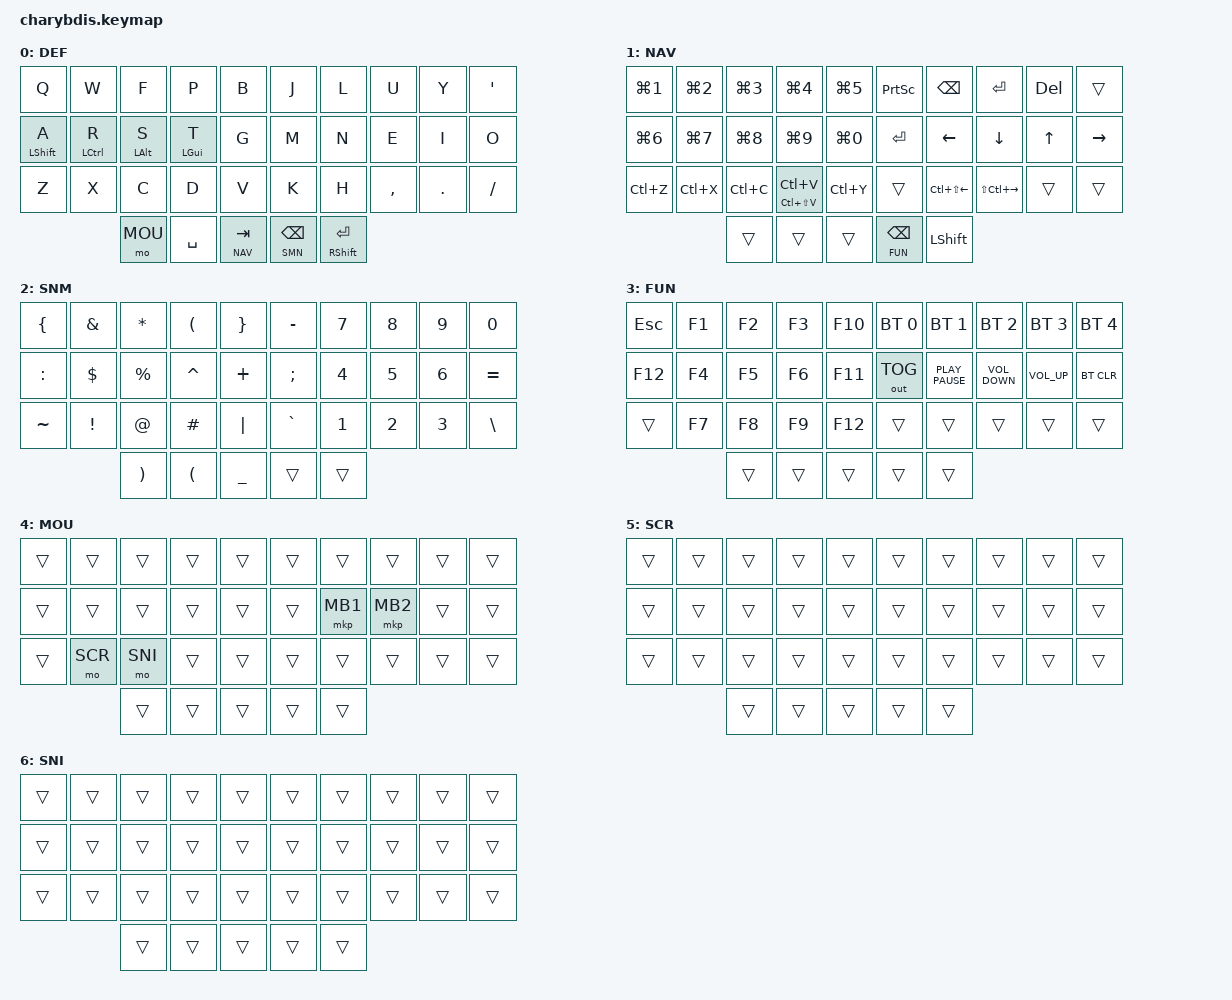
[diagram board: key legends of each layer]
/*
 * eXsoR's Charybdis Nano Keymap
 * with trackball.
 *
*/

// Includes
#include <behaviors.dtsi>
#include <dt-bindings/zmk/bt.h>
#include <dt-bindings/zmk/keys.h>
#include <dt-bindings/zmk/pointing.h>
#include <dt-bindings/zmk/outputs.h>

// Layer Defenitions
#define DEF 0
#define NAV 1
#define SMN 2
#define FUN 3
#define MOU 4
#define SCR 5
#define SNI 6

// Layer-Tap and Mod-Tap Config Preferences
&lt {
    tapping-term-ms = <240>;
    flavor = "tap-preferred";
    quick-tap-ms = <150>;
    require-prior-idle-ms = <10>;
};

&mt {
    tapping-term-ms = <250>;
    flavor = "tap-preferred";
    require-prior-idle-ms = <250>;
};

// Selecting 5 Coloumn Transform
/ {
    chosen { zmk,matrix_transform = &five_column_transform; };
};

/* 
 * Combos, Behaviors, and Keymap
 *╭──────┬──────┬──────┬──────┬──────╮  ╭──────┬──────┬──────┬──────┬──────╮
 *   00     01     02     03     04        05     06     07     08     09 
 *├──────┼──────┼──────┼──────┼──────┤  ├──────┼──────┼──────┼──────┼──────┤
 *   10     11     12     13     14        15     16     17     18     19
 *├──────┼──────┼──────┼──────┼──────┤  ├──────┼──────┼──────┼──────┼──────┤
 *   20     21     22     23     24        25     26     27     28     29 
 *╰──────┴──────┴──────┼──────┼──────┤  ├──────┼──────┼──────┴──────┴──────╯
 *                 30     31     32        33     34
 *              ╰──────┴──────┴──────╯  ╰──────┴──────╯
*/

/ {
    behaviors {
        Shift_Enter: Shift_Enter {
            compatible = "zmk,behavior-hold-tap";
            display-name = "SHIFT_ENTER";
            bindings = <&kp>, <&kp>;
            #binding-cells = <2>;
            hold-trigger-key-positions = <34>;
            tapping-term-ms = <150>;
        };
    };
    
    combos {
        compatible = "zmk,combos";

        fn_mo {
	    timeout-ms = <50>;
            key-positions = <32 33>;
            bindings = <&mo FUN>;
        };

        LeftClickRight {
            bindings = <&mkp LCLK>;
            key-positions = <16 17>;
        };

        RightClickRight {
            bindings = <&mkp RCLK>;
            key-positions = <17 18>;
        };

        ParaLeft {
            bindings = <&kp LEFT_PARENTHESIS>;
            key-positions = <3 13>;
        };

        ParaRight {
            bindings = <&kp RIGHT_PARENTHESIS>;
            key-positions = <6 16>;
        };

        BrakLeft {
            bindings = <&kp LEFT_BRACKET>;
            key-positions = <2 12>;
        };

        BrakRight {
            bindings = <&kp RIGHT_BRACKET>;
            key-positions = <7 17>;
        };

        BraceLeft {
            bindings = <&kp LEFT_BRACE>;
            key-positions = <1 11>;
        };

        BraceRight {
            bindings = <&kp RIGHT_BRACE>;
            key-positions = <8 18>;
        };

        Delete {
            bindings = <&kp DELETE>;
            key-positions = <7 8>;
        };

        CapsWord {
            bindings = <&caps_word>;
            key-positions = <14 15>;
        };
    };

    keymap {
        compatible = "zmk,keymap";

        default_layer {
            display-name = "DEF";
            bindings = <
            &kp Q              &kp W                &kp F             &kp P             &kp B               &kp J                &kp L             &kp U           &kp Y       &kp APOS
            &mt LEFT_SHIFT A   &mt LEFT_CONTROL R   &mt LEFT_ALT S    &mt LEFT_GUI T    &kp G               &kp M                &kp N             &kp E           &kp I       &kp O
            &kp Z              &kp X                &kp C             &kp D             &kp V               &kp K                &kp H             &kp COMMA       &kp DOT     &kp SLASH
                                                    &mo MOU           &kp SPACE         &lt NAV TAB         &lt SMN BACKSPACE    &Shift_Enter RIGHT_SHIFT ENTER
            >;
        };

        nav_layer {
            display-name = "NAV";
            bindings = <
            &kp LG(N1)  &kp LG(N2)  &kp LG(N3)  &kp LG(N4)           &kp LG(N5)   &kp PRINTSCREEN  &kp BACKSPACE     &kp ENTER          &kp DELETE    &trans
            &kp LG(N6)  &kp LG(N7)  &kp LG(N8)  &kp LG(N9)           &kp LG(N0)   &kp ENTER        &kp LEFT          &kp DOWN           &kp UP_ARROW  &kp RIGHT
            &kp LC(Z)   &kp LC(X)   &kp LC(C)   &mt LC(LS(V)) LC(V)  &kp LC(Y)    &trans           &kp LC(LS(LEFT))  &kp LS(LC(RIGHT))  &trans        &trans
                                            &trans         &trans    &trans       &lt FUN BACKSPACE  &kp LSHFT
            >;
        };

        symnum_layer {
            display-name = "SNM";
            bindings = <
            &kp LBRC   &kp AMPERSAND  &kp STAR    &kp LPAR  &kp RBRC      &kp MINUS &kp N7  &kp N8  &kp N9  &kp N0
            &kp COLON  &kp DOLLAR     &kp PERCENT &kp CARET &kp PLUS      &kp SEMI  &kp N4  &kp N5  &kp N6  &kp EQUAL
            &kp TILDE  &kp EXCL       &kp AT      &kp POUND &kp PIPE      &kp GRAVE &kp N1  &kp N2  &kp N3  &kp BSLH
                            &kp RPAR  &kp LPAR    &kp UNDER               &trans    &trans
            >;
        };

        function_layer {
            display-name = "FUN";
            bindings = <
            &kp ESC  &kp F1  &kp F2  &kp F3  &kp F10    &bt BT_SEL 0  &bt BT_SEL 1      &bt BT_SEL 2       &bt BT_SEL 3     &bt BT_SEL 4
            &kp F12  &kp F4  &kp F5  &kp F6  &kp F11    &out OUT_TOG  &kp K_PLAY_PAUSE  &kp C_VOLUME_DOWN  &kp C_VOLUME_UP  &bt BT_CLR
            &trans   &kp F7  &kp F8  &kp F9  &kp F12    &trans        &trans            &trans             &trans           &trans
                                &trans &trans &trans    &trans        &trans
            >;
        };

        mouse_layer {
            display-name = "MOU";
            bindings = <
            &trans  &trans    &trans    &trans   &trans    &trans   &trans    &trans   &trans  &trans
            &trans  &trans    &trans    &trans   &trans    &trans   &mkp MB1  &mkp MB2 &trans  &trans
            &trans  &mo SCR   &mo SNI   &trans   &trans    &trans   &trans    &trans   &trans  &trans
                                &trans    &trans    &trans   &trans    &trans
            >;
        };

        scroll_layer {
            display-name = "SCR";
            bindings = <
            &trans  &trans  &trans  &trans  &trans    &trans  &trans  &trans  &trans  &trans
            &trans  &trans  &trans  &trans  &trans    &trans  &trans  &trans  &trans  &trans
            &trans  &trans  &trans  &trans  &trans    &trans  &trans  &trans  &trans  &trans
                            &trans  &trans  &trans    &trans  &trans
            >;
        };
        
        snipe_layer {
            display-name = "SNI";
            bindings = <
            &trans  &trans  &trans  &trans  &trans    &trans  &trans  &trans  &trans  &trans
            &trans  &trans  &trans  &trans  &trans    &trans  &trans  &trans  &trans  &trans
            &trans  &trans  &trans  &trans  &trans    &trans  &trans  &trans  &trans  &trans
                            &trans  &trans  &trans    &trans  &trans
            >;
        };
    };
};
